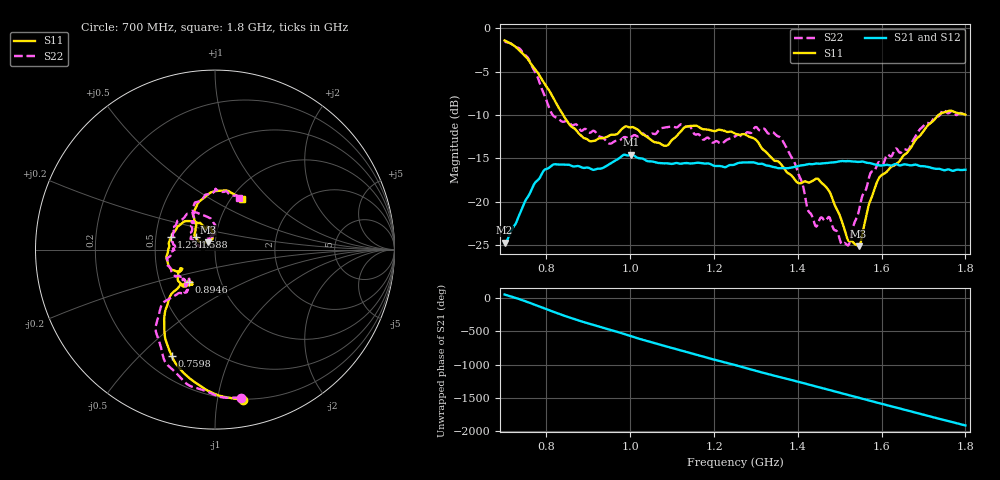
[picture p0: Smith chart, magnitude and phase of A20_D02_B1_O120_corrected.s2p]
! Created with skrf 1.9.0 (http://scikit-rf.org).
# Hz S RI R 50.0
!freq ReS11 ImS11 ReS21 ImS21 ReS12 ImS12 ReS22 ImS22
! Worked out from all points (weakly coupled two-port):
!   1601 points, 700 MHz to 1.8 GHz, reference 50 ohm
!   highest |S21| = -14.56 dB at 1.002 GHz (marker M1); lowest = -24.7 dB at 700 MHz (marker M2)
!   lowest |S11| = -25.1 dB at 1.545 GHz (marker M3), VSWR 1.12, Z = 46.3 + j3.85 ohm
!   |S11| at or under -10 dB: 840 MHz to 1.735 GHz (895.4 MHz wide, 69.5 % of centre)
!   |S22| runs from -25.0 to -1.5 dB; largest |S21 - S12| = 0.0034
!   S11 on the Smith chart (normalised r, x): 700 MHz: 0.20, -1.19; 759.8 MHz: 0.31, -0.63; 894.6 MHz: 0.71, -0.27; 1.231 GHz: 0.60, +0.09; 1.588 GHz: 0.80, +0.11; 1.8 GHz: 1.12, +0.70
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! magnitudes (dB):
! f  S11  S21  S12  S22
! 700 MHz  -1.4  -24.7  -24.5  -1.5
! 759.8 MHz  -3.9  -19.1  -18.9  -3.8
! 814.8 MHz  -7.9  -15.7  -15.8  -10.0
! 883.6 MHz  -12.4  -16.0  -15.9  -11.8
! 894.6 MHz  -12.7  -16.1  -16.2  -11.6
! 950.9 MHz  -12.3  -15.6  -15.6  -13.3
! 1.002 GHz  -11.4  -14.6  -14.7  -12.5
! 1.067 GHz  -13.2  -15.5  -15.5  -11.8
! 1.139 GHz  -11.3  -15.6  -15.5  -11.3
! 1.231 GHz  -11.9  -15.9  -15.9  -12.8
! 1.25 GHz  -12.1  -15.7  -15.6  -12.5
! 1.3 GHz  -12.9  -15.5  -15.5  -11.4
! 1.359 GHz  -15.6  -16.1  -16.1  -12.6
! 1.394 GHz  -17.5  -16.0  -15.9  -15.6
! 1.434 GHz  -17.6  -15.7  -15.6  -21.6
! 1.473 GHz  -18.7  -15.5  -15.5  -21.8
! 1.518 GHz  -24.3  -15.3  -15.3  -25.0
! 1.545 GHz  -25.1  -15.4  -15.4  -21.2
! 1.588 GHz  -17.9  -15.7  -15.7  -15.9
! 1.617 GHz  -16.3  -15.8  -15.7  -14.6
! 1.738 GHz  -9.9  -16.2  -16.3  -10.1
! 1.8 GHz  -10.0  -16.3  -16.3  -9.9
